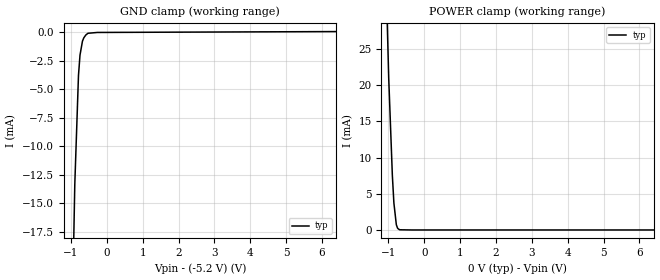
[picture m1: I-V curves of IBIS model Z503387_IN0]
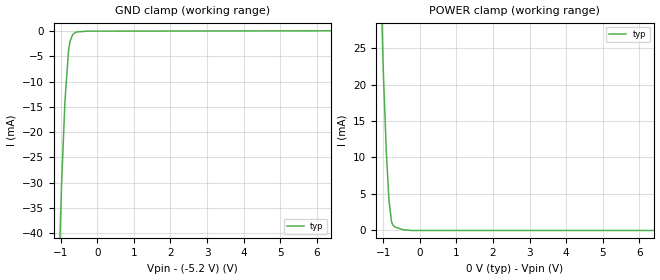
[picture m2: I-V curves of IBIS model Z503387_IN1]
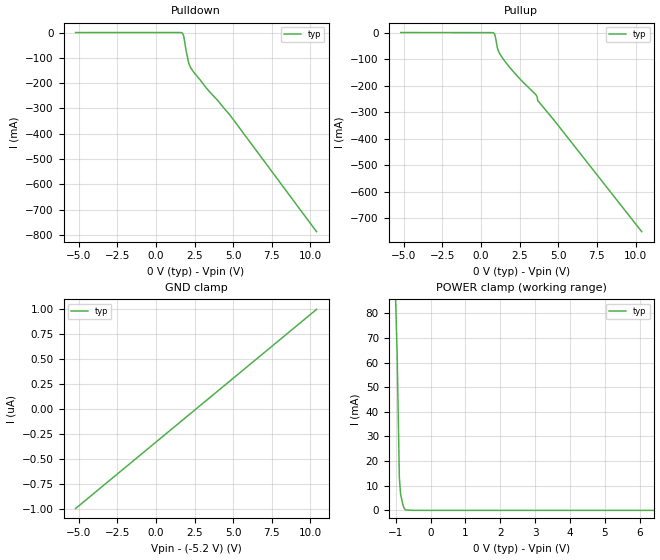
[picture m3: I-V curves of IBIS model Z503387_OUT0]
| YOU ARE ONLY AUTHORIZED TO USE THIS SOFTWARE
| ACCORDING TO LICENSOR'S LICENSE RESTRICTIONS.
[IBIS Ver] 3.1
[File Name] mc100el32d.ibs
[File Rev] 2.0
[Source] Measured and created by ICX Technology
[Date] Friday 7/14/00 9:07:48 AM
[Copyright]
| (C) COPYRIGHT 1993-2000
| MENTOR GRAPHICS CORPORATION
| ICX STANDARD LIBRARY, ICX PROJECT MODELING,
| ICX CUSTOM MODELING, ICX VENDOR MODEL
| ALL RIGHTS RESERVED.
| THE FOLLOWING ARE TRADEMARKS OR SERVICE MARKS OF
| MENTOR GRAPHICS CORPORATION:ICX (R), ICX STANDARD
| LIBRARY(R), ICX PROJECT MODELING(R), ICX CUSTOM
| MODELING(R), qualityIBIS(TM), MODELVIEWER(TM),
| AND MODELEDITOR(TM)
| ALL COPIES OF SOFTWARE, INCLUDING BUT NOT LIMITED TO
| ANY MODIFICATIONS, ENHANCEMENTS OR DERIVATIVE WORKS,
| MUST CONTAIN ALL MENTOR GRAPHICS CORPORATION'S
| NOTICES AND LEGENDS, INCLUDING THOSE EMBEDDED IN
| SOFTWARE AND THOSE AFFIXED TO SOFTWARE MEDIUM
| AND CONTAINER, AS RECEIVED FROM MENTOR GRAPHICS
| CORPORATION.
|  ZAP Model Builder 2.7
[Component] MC100EL32D
[Manufacturer] OnSemiconductor
[Package]
| variable   typ   min   max
R_pkg  .152ohms NA NA
L_pkg  2.714nH NA NA
C_pkg  .364pF NA NA
[Pin] signal_name  model_name  R_pin  L_pin C_pin
1 RESET Z503387_IN0 .154 2.924n .374p
2 CLK Z503387_IN1 .15 2.504n .354p
3 _CLK Z503387_IN1 .15 2.504n .354p
4 VBB POWER .154 2.924n .374p
5 VEE POWER .154 2.924n .374p
6 _Q Z503387_OUT0 .15 2.504n .354p
7 Q Z503387_OUT1 .15 2.504n .354p
8 VCC POWER .154 2.924n .374p
| Models and submodels in the file (4): Z503387_IN0 (Input_ECL), Z503387_IN1 (Input_ECL), Z503387_OUT0 (Output_ECL), Z503387_OUT1 (Output_ECL)
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| (C) COPYRIGHT 1993-2000
| MENTOR GRAPHICS CORPORATION
| ICX STANDARD LIBRARY, ICX PROJECT MODELING,
| ICX CUSTOM MODELING, ICX VENDOR MODEL
| ALL RIGHTS RESERVED.
| THE FOLLOWING ARE TRADEMARKS OR SERVICE MARKS OF
| MENTOR GRAPHICS CORPORATION:ICX (R), ICX STANDARD
| LIBRARY(R), ICX PROJECT MODELING(R), ICX CUSTOM
| MODELING(R), qualityIBIS(TM), MODELVIEWER(TM),
| AND MODELEDITOR(TM)
| ALL COPIES OF SOFTWARE, INCLUDING BUT NOT LIMITED TO
| ANY MODIFICATIONS, ENHANCEMENTS OR DERIVATIVE WORKS,
| MUST CONTAIN ALL MENTOR GRAPHICS CORPORATION'S
| NOTICES AND LEGENDS, INCLUDING THOSE EMBEDDED IN
| SOFTWARE AND THOSE AFFIXED TO SOFTWARE MEDIUM
| AND CONTAINER, AS RECEIVED FROM MENTOR GRAPHICS
| CORPORATION.
| Model Application Version 1.89 2/18/99.
[Model] Z503387_IN0
Model_type Input_ECL
Vinl = -1.475V
Vinh = -1.165V
C_comp 8.000pF NA NA
| variable typ   min   max
[Voltage Range] -5.200V NA NA
[GND Clamp Reference] -5.200V NA NA
[POWER Clamp Reference] 0.000V NA NA
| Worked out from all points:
|   GND clamp passes 1 mA (typ) near -0.69 V on its own axis
|   POWER clamp passes 1 mA (typ) near -0.79 V on its own axis
[GND Clamp]
-5.2V     -924.1mA   NA         NA
-1.013V   -32.88mA   NA         NA
-894mV    -13.35mA   NA         NA
-791mV    -3.787mA   NA         NA
-749mV    -2.013mA   NA         NA
-680mV    -782.7uA   NA         NA
-644mV    -501.7uA   NA         NA
-587mV    -244.3uA   NA         NA
-526mV    -91.69uA   NA         NA
-263mV    -19.68uA   NA         NA
10.4V     104.1uA    NA         NA
[POWER Clamp]
-5.2V     1.771A     NA         NA
-1.133V   56.65mA    NA         NA
-1.049V   31.28mA    NA         NA
-994.6mV  21.15mA    NA         NA
-892.1mV  7.524mA    NA         NA
-849.3mV  3.728mA    NA         NA
-781.3mV  726.5uA    NA         NA
-747.2mV  251.9uA    NA         NA
-722.9mV  132.5uA    NA         NA
-686mV    26.91uA    NA         NA
-343mV    0A         NA         NA
10.4V     0A         NA         NA
| (C) COPYRIGHT 1993-2000
| MENTOR GRAPHICS CORPORATION
| ICX STANDARD LIBRARY, ICX PROJECT MODELING,
| ICX CUSTOM MODELING, ICX VENDOR MODEL
| ALL RIGHTS RESERVED.
| THE FOLLOWING ARE TRADEMARKS OR SERVICE MARKS OF
| MENTOR GRAPHICS CORPORATION:ICX (R), ICX STANDARD
| LIBRARY(R), ICX PROJECT MODELING(R), ICX CUSTOM
| MODELING(R), qualityIBIS(TM), MODELVIEWER(TM),
| AND MODELEDITOR(TM)
| ALL COPIES OF SOFTWARE, INCLUDING BUT NOT LIMITED TO
| ANY MODIFICATIONS, ENHANCEMENTS OR DERIVATIVE WORKS,
| MUST CONTAIN ALL MENTOR GRAPHICS CORPORATION'S
| NOTICES AND LEGENDS, INCLUDING THOSE EMBEDDED IN
| SOFTWARE AND THOSE AFFIXED TO SOFTWARE MEDIUM
| AND CONTAINER, AS RECEIVED FROM MENTOR GRAPHICS
| CORPORATION.
| Model Application Version 1.89 2/18/99.
[Model] Z503387_IN1
Model_type Input_ECL
Vinl = -1.475V
Vinh = -1.165V
C_comp 8.000pF NA NA
| variable typ   min   max
[Voltage Range] -5.200V NA NA
[GND Clamp Reference] -5.200V NA NA
[POWER Clamp Reference] 0.000V NA NA
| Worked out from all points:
|   GND clamp passes 1 mA (typ) near -0.69 V on its own axis
|   POWER clamp passes 1 mA (typ) near -0.76 V on its own axis
[GND Clamp]
-5.2V     -1.036A    NA         NA
-980mV    -30.38mA   NA         NA
-888mV    -13.95mA   NA         NA
-790mV    -3.928mA   NA         NA
-749mV    -2.052mA   NA         NA
-680mV    -764.6uA   NA         NA
-644mV    -477.5uA   NA         NA
-568mV    -175uA     NA         NA
-284mV    -17.55uA   NA         NA
10.4V     100.7uA    NA         NA
[POWER Clamp]
-5.2V     1.574A     NA         NA
-1.141V   53.93mA    NA         NA
-1.06V    32.31mA    NA         NA
-995.7mV  21.07mA    NA         NA
-918.1mV  10.86mA    NA         NA
-844.9mV  4.071mA    NA         NA
-776.3mV  1.218mA    NA         NA
-742.1mV  758uA      NA         NA
-682.5mV  481.2uA    NA         NA
-468.2mV  113.1uA    NA         NA
-234.1mV  0A         NA         NA
10.4V     0A         NA         NA
| (C) COPYRIGHT 1993-2000
| MENTOR GRAPHICS CORPORATION
| ICX STANDARD LIBRARY, ICX PROJECT MODELING,
| ICX CUSTOM MODELING, ICX VENDOR MODEL
| ALL RIGHTS RESERVED.
| THE FOLLOWING ARE TRADEMARKS OR SERVICE MARKS OF
| MENTOR GRAPHICS CORPORATION:ICX (R), ICX STANDARD
| LIBRARY(R), ICX PROJECT MODELING(R), ICX CUSTOM
| MODELING(R), qualityIBIS(TM), MODELVIEWER(TM),
| AND MODELEDITOR(TM)
| ALL COPIES OF SOFTWARE, INCLUDING BUT NOT LIMITED TO
| ANY MODIFICATIONS, ENHANCEMENTS OR DERIVATIVE WORKS,
| MUST CONTAIN ALL MENTOR GRAPHICS CORPORATION'S
| NOTICES AND LEGENDS, INCLUDING THOSE EMBEDDED IN
| SOFTWARE AND THOSE AFFIXED TO SOFTWARE MEDIUM
| AND CONTAINER, AS RECEIVED FROM MENTOR GRAPHICS
| CORPORATION.
| Model Application Version 1.89 2/18/99.
[Model] Z503387_OUT0
Model_type Output_ECL
Vref=-2.000V
Rref=50.00ohms
Cref=0.000F
Vmeas=-1.320V
C_comp 8.000pF NA NA
| variable typ   min   max
[Voltage Range] -5.200V NA NA
[POWER Clamp Reference] 0.000V NA NA
[Pullup Reference] 0.000V NA NA
[Pulldown Reference] 0.000V NA NA
[GND Clamp Reference] -5.200V NA NA
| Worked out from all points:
|   POWER clamp passes 1 mA (typ) near -0.76 V on its own axis
[GND Clamp]
-5.2V     -1uA       NA         NA
10.4V     1uA        NA         NA
[Pulldown]
-5.2V     56.97uA    NA         NA
1.703V    -1.446mA   NA         NA
1.777V    -8.817mA   NA         NA
1.822V    -20.69mA   NA         NA
1.948V    -69.23mA   NA         NA
2.129V    -122mA     NA         NA
2.25V     -138.7mA   NA         NA
2.431V    -155.3mA   NA         NA
3.203V    -214.5mA   NA         NA
4.008V    -268.5mA   NA         NA
4.783V    -325.3mA   NA         NA
10.4V     -787.3mA   NA         NA
[Pullup]
-5.2V     312uA      NA         NA
844.3mV   -2.723mA   NA         NA
928.4mV   -16.79mA   NA         NA
1.059V    -58.57mA   NA         NA
1.094V    -65.6mA    NA         NA
1.397V    -96.98mA   NA         NA
2.324V    -163mA     NA         NA
3.543V    -234.1mA   NA         NA
3.619V    -240.9mA   NA         NA
3.677V    -257.2mA   NA         NA
4.697V    -328.7mA   NA         NA
10.4V     -751.5mA   NA         NA
[POWER Clamp]
-5.2V     1.404A     NA         NA
-1.186V   165.3mA    NA         NA
-1.075V   122.7mA    NA         NA
-958.3mV  63.34mA    NA         NA
-895.1mV  13.33mA    NA         NA
-859.6mV  6.588mA    NA         NA
-786.4mV  1.823mA    NA         NA
-749.6mV  667uA      NA         NA
-707.2mV  157.2uA    NA         NA
-471.5mV  0A         NA         NA
10.4V     0A         NA         NA
[Ramp]
| variable typ min max
dV/dt_r 479.1m/598.9p NA NA
dV/dt_f 479.1m/601.9p NA NA
R_load = 50.00Ohms
